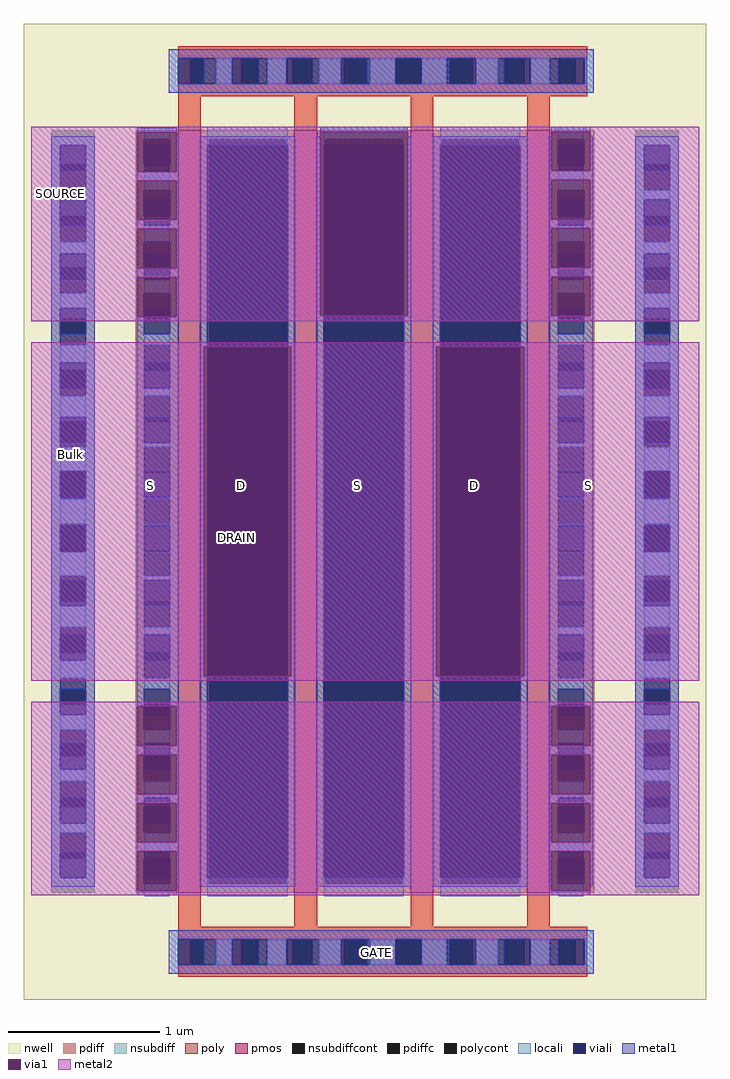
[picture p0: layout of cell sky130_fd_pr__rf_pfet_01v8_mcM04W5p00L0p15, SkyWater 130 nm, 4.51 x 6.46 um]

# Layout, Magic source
magic
tech sky130A
magscale 1 2
<< nwell >>
rect -10 0 893 1292
<< pmos >>
rect 194 141 224 1151
rect 348 141 378 1151
rect 502 141 532 1151
rect 656 141 686 1151
<< pdiff >>
rect 138 1139 194 1151
rect 138 1105 149 1139
rect 183 1105 194 1139
rect 138 1071 194 1105
rect 138 1037 149 1071
rect 183 1037 194 1071
rect 138 1003 194 1037
rect 138 969 149 1003
rect 183 969 194 1003
rect 138 935 194 969
rect 138 901 149 935
rect 183 901 194 935
rect 138 867 194 901
rect 138 833 149 867
rect 183 833 194 867
rect 138 799 194 833
rect 138 765 149 799
rect 183 765 194 799
rect 138 731 194 765
rect 138 697 149 731
rect 183 697 194 731
rect 138 663 194 697
rect 138 629 149 663
rect 183 629 194 663
rect 138 595 194 629
rect 138 561 149 595
rect 183 561 194 595
rect 138 527 194 561
rect 138 493 149 527
rect 183 493 194 527
rect 138 459 194 493
rect 138 425 149 459
rect 183 425 194 459
rect 138 391 194 425
rect 138 357 149 391
rect 183 357 194 391
rect 138 323 194 357
rect 138 289 149 323
rect 183 289 194 323
rect 138 255 194 289
rect 138 221 149 255
rect 183 221 194 255
rect 138 187 194 221
rect 138 153 149 187
rect 183 153 194 187
rect 138 141 194 153
rect 224 1139 348 1151
rect 224 153 235 1139
rect 337 153 348 1139
rect 224 141 348 153
rect 378 1139 502 1151
rect 378 153 389 1139
rect 491 153 502 1139
rect 378 141 502 153
rect 532 1139 656 1151
rect 532 153 543 1139
rect 645 153 656 1139
rect 532 141 656 153
rect 686 1139 745 1151
rect 686 1105 697 1139
rect 731 1105 745 1139
rect 686 1071 745 1105
rect 686 1037 697 1071
rect 731 1037 745 1071
rect 686 1003 745 1037
rect 686 969 697 1003
rect 731 969 745 1003
rect 686 935 745 969
rect 686 901 697 935
rect 731 901 745 935
rect 686 867 745 901
rect 686 833 697 867
rect 731 833 745 867
rect 686 799 745 833
rect 686 765 697 799
rect 731 765 745 799
rect 686 731 745 765
rect 686 697 697 731
rect 731 697 745 731
rect 686 663 745 697
rect 686 629 697 663
rect 731 629 745 663
rect 686 595 745 629
rect 686 561 697 595
rect 731 561 745 595
rect 686 527 745 561
rect 686 493 697 527
rect 731 493 745 527
rect 686 459 745 493
rect 686 425 697 459
rect 731 425 745 459
rect 686 391 745 425
rect 686 357 697 391
rect 731 357 745 391
rect 686 323 745 357
rect 686 289 697 323
rect 731 289 745 323
rect 686 255 745 289
rect 686 221 697 255
rect 731 221 745 255
rect 686 187 745 221
rect 686 153 697 187
rect 731 153 745 187
rect 686 141 745 153
<< pdiffc >>
rect 149 1105 183 1139
rect 149 1037 183 1071
rect 149 969 183 1003
rect 149 901 183 935
rect 149 833 183 867
rect 149 765 183 799
rect 149 697 183 731
rect 149 629 183 663
rect 149 561 183 595
rect 149 493 183 527
rect 149 425 183 459
rect 149 357 183 391
rect 149 289 183 323
rect 149 221 183 255
rect 149 153 183 187
rect 235 153 337 1139
rect 389 153 491 1139
rect 543 153 645 1139
rect 697 1105 731 1139
rect 697 1037 731 1071
rect 697 969 731 1003
rect 697 901 731 935
rect 697 833 731 867
rect 697 765 731 799
rect 697 697 731 731
rect 697 629 731 663
rect 697 561 731 595
rect 697 493 731 527
rect 697 425 731 459
rect 697 357 731 391
rect 697 289 731 323
rect 697 221 731 255
rect 697 153 731 187
<< nsubdiff >>
rect 26 1105 84 1151
rect 26 1071 38 1105
rect 72 1071 84 1105
rect 26 1037 84 1071
rect 26 1003 38 1037
rect 72 1003 84 1037
rect 26 969 84 1003
rect 26 935 38 969
rect 72 935 84 969
rect 26 901 84 935
rect 26 867 38 901
rect 72 867 84 901
rect 26 833 84 867
rect 26 799 38 833
rect 72 799 84 833
rect 26 765 84 799
rect 26 731 38 765
rect 72 731 84 765
rect 26 697 84 731
rect 26 663 38 697
rect 72 663 84 697
rect 26 629 84 663
rect 26 595 38 629
rect 72 595 84 629
rect 26 561 84 595
rect 26 527 38 561
rect 72 527 84 561
rect 26 493 84 527
rect 26 459 38 493
rect 72 459 84 493
rect 26 425 84 459
rect 26 391 38 425
rect 72 391 84 425
rect 26 357 84 391
rect 26 323 38 357
rect 72 323 84 357
rect 26 289 84 323
rect 26 255 38 289
rect 72 255 84 289
rect 26 221 84 255
rect 26 187 38 221
rect 72 187 84 221
rect 26 141 84 187
rect 799 1105 857 1151
rect 799 1071 811 1105
rect 845 1071 857 1105
rect 799 1037 857 1071
rect 799 1003 811 1037
rect 845 1003 857 1037
rect 799 969 857 1003
rect 799 935 811 969
rect 845 935 857 969
rect 799 901 857 935
rect 799 867 811 901
rect 845 867 857 901
rect 799 833 857 867
rect 799 799 811 833
rect 845 799 857 833
rect 799 765 857 799
rect 799 731 811 765
rect 845 731 857 765
rect 799 697 857 731
rect 799 663 811 697
rect 845 663 857 697
rect 799 629 857 663
rect 799 595 811 629
rect 845 595 857 629
rect 799 561 857 595
rect 799 527 811 561
rect 845 527 857 561
rect 799 493 857 527
rect 799 459 811 493
rect 845 459 857 493
rect 799 425 857 459
rect 799 391 811 425
rect 845 391 857 425
rect 799 357 857 391
rect 799 323 811 357
rect 845 323 857 357
rect 799 289 857 323
rect 799 255 811 289
rect 845 255 857 289
rect 799 221 857 255
rect 799 187 811 221
rect 845 187 857 221
rect 799 141 857 187
<< nsubdiffcont >>
rect 38 1071 72 1105
rect 38 1003 72 1037
rect 38 935 72 969
rect 38 867 72 901
rect 38 799 72 833
rect 38 731 72 765
rect 38 663 72 697
rect 38 595 72 629
rect 38 527 72 561
rect 38 459 72 493
rect 38 391 72 425
rect 38 323 72 357
rect 38 255 72 289
rect 38 187 72 221
rect 811 1071 845 1105
rect 811 1003 845 1037
rect 811 935 845 969
rect 811 867 845 901
rect 811 799 845 833
rect 811 731 845 765
rect 811 663 845 697
rect 811 595 845 629
rect 811 527 845 561
rect 811 459 845 493
rect 811 391 845 425
rect 811 323 845 357
rect 811 255 845 289
rect 811 187 845 221
<< poly >>
rect 194 1246 736 1262
rect 194 1212 210 1246
rect 244 1212 278 1246
rect 312 1212 346 1246
rect 380 1212 414 1246
rect 448 1212 482 1246
rect 516 1212 550 1246
rect 584 1212 618 1246
rect 652 1212 686 1246
rect 720 1212 736 1246
rect 194 1196 736 1212
rect 194 1151 224 1196
rect 348 1151 378 1196
rect 502 1151 532 1196
rect 656 1151 686 1196
rect 194 96 224 141
rect 348 96 378 141
rect 502 96 532 141
rect 656 96 686 141
rect 194 80 736 96
rect 194 46 210 80
rect 244 46 278 80
rect 312 46 346 80
rect 380 46 414 80
rect 448 46 482 80
rect 516 46 550 80
rect 584 46 618 80
rect 652 46 686 80
rect 720 46 736 80
rect 194 30 736 46
<< polycont >>
rect 210 1212 244 1246
rect 278 1212 312 1246
rect 346 1212 380 1246
rect 414 1212 448 1246
rect 482 1212 516 1246
rect 550 1212 584 1246
rect 618 1212 652 1246
rect 686 1212 720 1246
rect 210 46 244 80
rect 278 46 312 80
rect 346 46 380 80
rect 414 46 448 80
rect 482 46 516 80
rect 550 46 584 80
rect 618 46 652 80
rect 686 46 720 80
<< locali >>
rect 244 1212 266 1246
rect 312 1212 338 1246
rect 380 1212 410 1246
rect 448 1212 482 1246
rect 516 1212 550 1246
rect 588 1212 618 1246
rect 660 1212 686 1246
rect 732 1212 736 1246
rect 149 1139 183 1155
rect 38 1059 72 1071
rect 38 987 72 1003
rect 38 915 72 935
rect 38 843 72 867
rect 38 771 72 799
rect 38 699 72 731
rect 38 629 72 663
rect 38 561 72 593
rect 38 493 72 521
rect 38 425 72 449
rect 38 357 72 377
rect 38 289 72 305
rect 38 221 72 233
rect 149 1071 183 1097
rect 149 1003 183 1025
rect 149 935 183 953
rect 149 867 183 881
rect 149 799 183 809
rect 149 731 183 737
rect 149 663 183 665
rect 149 627 183 629
rect 149 555 183 561
rect 149 483 183 493
rect 149 411 183 425
rect 149 339 183 357
rect 149 267 183 289
rect 149 195 183 221
rect 149 137 183 153
rect 233 1139 339 1155
rect 233 1131 235 1139
rect 337 1131 339 1139
rect 233 153 235 161
rect 337 153 339 161
rect 233 137 339 153
rect 387 1139 493 1155
rect 387 1131 389 1139
rect 491 1131 493 1139
rect 387 153 389 161
rect 491 153 493 161
rect 387 137 493 153
rect 541 1139 647 1155
rect 541 1131 543 1139
rect 645 1131 647 1139
rect 541 153 543 161
rect 645 153 647 161
rect 541 137 647 153
rect 697 1139 731 1155
rect 697 1071 731 1097
rect 697 1003 731 1025
rect 697 935 731 953
rect 697 867 731 881
rect 697 799 731 809
rect 697 731 731 737
rect 697 663 731 665
rect 697 627 731 629
rect 697 555 731 561
rect 697 483 731 493
rect 697 411 731 425
rect 697 339 731 357
rect 697 267 731 289
rect 697 195 731 221
rect 811 1059 845 1071
rect 811 987 845 1003
rect 811 915 845 935
rect 811 843 845 867
rect 811 771 845 799
rect 811 699 845 731
rect 811 629 845 663
rect 811 561 845 593
rect 811 493 845 521
rect 811 425 845 449
rect 811 357 845 377
rect 811 289 845 305
rect 811 221 845 233
rect 697 137 731 153
rect 244 46 266 80
rect 312 46 338 80
rect 380 46 410 80
rect 448 46 482 80
rect 516 46 550 80
rect 588 46 618 80
rect 660 46 686 80
rect 732 46 736 80
<< viali >>
rect 194 1212 210 1246
rect 210 1212 228 1246
rect 266 1212 278 1246
rect 278 1212 300 1246
rect 338 1212 346 1246
rect 346 1212 372 1246
rect 410 1212 414 1246
rect 414 1212 444 1246
rect 482 1212 516 1246
rect 554 1212 584 1246
rect 584 1212 588 1246
rect 626 1212 652 1246
rect 652 1212 660 1246
rect 698 1212 720 1246
rect 720 1212 732 1246
rect 38 1105 72 1131
rect 38 1097 72 1105
rect 38 1037 72 1059
rect 38 1025 72 1037
rect 38 969 72 987
rect 38 953 72 969
rect 38 901 72 915
rect 38 881 72 901
rect 38 833 72 843
rect 38 809 72 833
rect 38 765 72 771
rect 38 737 72 765
rect 38 697 72 699
rect 38 665 72 697
rect 38 595 72 627
rect 38 593 72 595
rect 38 527 72 555
rect 38 521 72 527
rect 38 459 72 483
rect 38 449 72 459
rect 38 391 72 411
rect 38 377 72 391
rect 38 323 72 339
rect 38 305 72 323
rect 38 255 72 267
rect 38 233 72 255
rect 38 187 72 195
rect 38 161 72 187
rect 149 1105 183 1131
rect 149 1097 183 1105
rect 149 1037 183 1059
rect 149 1025 183 1037
rect 149 969 183 987
rect 149 953 183 969
rect 149 901 183 915
rect 149 881 183 901
rect 149 833 183 843
rect 149 809 183 833
rect 149 765 183 771
rect 149 737 183 765
rect 149 697 183 699
rect 149 665 183 697
rect 149 595 183 627
rect 149 593 183 595
rect 149 527 183 555
rect 149 521 183 527
rect 149 459 183 483
rect 149 449 183 459
rect 149 391 183 411
rect 149 377 183 391
rect 149 323 183 339
rect 149 305 183 323
rect 149 255 183 267
rect 149 233 183 255
rect 149 187 183 195
rect 149 161 183 187
rect 233 161 235 1131
rect 235 161 337 1131
rect 337 161 339 1131
rect 387 161 389 1131
rect 389 161 491 1131
rect 491 161 493 1131
rect 541 161 543 1131
rect 543 161 645 1131
rect 645 161 647 1131
rect 697 1105 731 1131
rect 697 1097 731 1105
rect 697 1037 731 1059
rect 697 1025 731 1037
rect 697 969 731 987
rect 697 953 731 969
rect 697 901 731 915
rect 697 881 731 901
rect 697 833 731 843
rect 697 809 731 833
rect 697 765 731 771
rect 697 737 731 765
rect 697 697 731 699
rect 697 665 731 697
rect 697 595 731 627
rect 697 593 731 595
rect 697 527 731 555
rect 697 521 731 527
rect 697 459 731 483
rect 697 449 731 459
rect 697 391 731 411
rect 697 377 731 391
rect 697 323 731 339
rect 697 305 731 323
rect 697 255 731 267
rect 697 233 731 255
rect 697 187 731 195
rect 697 161 731 187
rect 811 1105 845 1131
rect 811 1097 845 1105
rect 811 1037 845 1059
rect 811 1025 845 1037
rect 811 969 845 987
rect 811 953 845 969
rect 811 901 845 915
rect 811 881 845 901
rect 811 833 845 843
rect 811 809 845 833
rect 811 765 845 771
rect 811 737 845 765
rect 811 697 845 699
rect 811 665 845 697
rect 811 595 845 627
rect 811 593 845 595
rect 811 527 845 555
rect 811 521 845 527
rect 811 459 845 483
rect 811 449 845 459
rect 811 391 845 411
rect 811 377 845 391
rect 811 323 845 339
rect 811 305 845 323
rect 811 255 845 267
rect 811 233 845 255
rect 811 187 845 195
rect 811 161 845 187
rect 194 46 210 80
rect 210 46 228 80
rect 266 46 278 80
rect 278 46 300 80
rect 338 46 346 80
rect 346 46 372 80
rect 410 46 414 80
rect 414 46 444 80
rect 482 46 516 80
rect 554 46 584 80
rect 584 46 588 80
rect 626 46 652 80
rect 652 46 660 80
rect 698 46 720 80
rect 720 46 732 80
<< metal1 >>
rect 182 1246 744 1258
rect 182 1212 194 1246
rect 228 1212 266 1246
rect 300 1212 338 1246
rect 372 1212 410 1246
rect 444 1212 482 1246
rect 516 1212 554 1246
rect 588 1212 626 1246
rect 660 1212 698 1246
rect 732 1212 744 1246
rect 182 1200 744 1212
rect 140 1148 192 1154
rect 26 1131 84 1143
rect 26 1097 38 1131
rect 72 1097 84 1131
rect 26 1059 84 1097
rect 26 1025 38 1059
rect 72 1025 84 1059
rect 26 987 84 1025
rect 26 953 38 987
rect 72 953 84 987
rect 26 915 84 953
rect 26 881 38 915
rect 72 881 84 915
rect 26 843 84 881
rect 26 809 38 843
rect 72 809 84 843
rect 26 771 84 809
rect 26 737 38 771
rect 72 737 84 771
rect 26 699 84 737
rect 26 665 38 699
rect 72 665 84 699
rect 26 627 84 665
rect 26 593 38 627
rect 72 593 84 627
rect 26 555 84 593
rect 26 521 38 555
rect 72 521 84 555
rect 26 483 84 521
rect 26 449 38 483
rect 72 449 84 483
rect 26 411 84 449
rect 26 377 38 411
rect 72 377 84 411
rect 26 339 84 377
rect 26 305 38 339
rect 72 305 84 339
rect 26 267 84 305
rect 26 233 38 267
rect 72 233 84 267
rect 26 195 84 233
rect 26 161 38 195
rect 72 161 84 195
rect 26 149 84 161
rect 382 1149 498 1155
rect 192 1096 195 1143
rect 140 1084 195 1096
rect 192 1032 195 1084
rect 140 1025 149 1032
rect 183 1025 195 1032
rect 140 1020 195 1025
rect 192 968 195 1020
rect 140 956 149 968
rect 183 956 195 968
rect 192 904 195 956
rect 140 881 149 904
rect 183 881 195 904
rect 140 843 195 881
rect 140 809 149 843
rect 183 809 195 843
rect 140 771 195 809
rect 140 737 149 771
rect 183 737 195 771
rect 140 699 195 737
rect 140 665 149 699
rect 183 665 195 699
rect 140 627 195 665
rect 140 593 149 627
rect 183 593 195 627
rect 140 555 195 593
rect 140 521 149 555
rect 183 521 195 555
rect 140 483 195 521
rect 140 449 149 483
rect 183 449 195 483
rect 140 411 195 449
rect 140 388 149 411
rect 183 388 195 411
rect 192 336 195 388
rect 140 324 149 336
rect 183 324 195 336
rect 192 272 195 324
rect 140 267 195 272
rect 140 260 149 267
rect 183 260 195 267
rect 192 208 195 260
rect 140 196 195 208
rect 192 149 195 196
rect 223 1131 349 1143
rect 223 864 233 1131
rect 339 864 349 1131
rect 223 428 228 864
rect 344 428 349 864
rect 223 161 233 428
rect 339 161 349 428
rect 223 149 349 161
rect 377 905 382 1143
rect 688 1149 740 1155
rect 498 905 503 1143
rect 377 161 387 905
rect 493 161 503 905
rect 377 149 503 161
rect 531 1131 657 1143
rect 531 864 541 1131
rect 647 864 657 1131
rect 531 428 536 864
rect 652 428 657 864
rect 531 161 541 428
rect 647 161 657 428
rect 531 149 657 161
rect 685 1097 688 1143
rect 740 1097 743 1143
rect 685 1085 743 1097
rect 685 1033 688 1085
rect 740 1033 743 1085
rect 685 1025 697 1033
rect 731 1025 743 1033
rect 685 1021 743 1025
rect 685 969 688 1021
rect 740 969 743 1021
rect 685 957 697 969
rect 731 957 743 969
rect 685 905 688 957
rect 740 905 743 957
rect 685 881 697 905
rect 731 881 743 905
rect 685 843 743 881
rect 685 809 697 843
rect 731 809 743 843
rect 685 771 743 809
rect 685 737 697 771
rect 731 737 743 771
rect 685 699 743 737
rect 685 665 697 699
rect 731 665 743 699
rect 685 627 743 665
rect 685 593 697 627
rect 731 593 743 627
rect 685 555 743 593
rect 685 521 697 555
rect 731 521 743 555
rect 685 483 743 521
rect 685 449 697 483
rect 731 449 743 483
rect 685 411 743 449
rect 685 388 697 411
rect 731 388 743 411
rect 685 336 688 388
rect 740 336 743 388
rect 685 324 697 336
rect 731 324 743 336
rect 685 272 688 324
rect 740 272 743 324
rect 685 267 743 272
rect 685 260 697 267
rect 731 260 743 267
rect 685 208 688 260
rect 740 208 743 260
rect 685 196 743 208
rect 685 149 688 196
rect 140 138 192 144
rect 740 149 743 196
rect 799 1131 857 1143
rect 799 1097 811 1131
rect 845 1097 857 1131
rect 799 1059 857 1097
rect 799 1025 811 1059
rect 845 1025 857 1059
rect 799 987 857 1025
rect 799 953 811 987
rect 845 953 857 987
rect 799 915 857 953
rect 799 881 811 915
rect 845 881 857 915
rect 799 843 857 881
rect 799 809 811 843
rect 845 809 857 843
rect 799 771 857 809
rect 799 737 811 771
rect 845 737 857 771
rect 799 699 857 737
rect 799 665 811 699
rect 845 665 857 699
rect 799 627 857 665
rect 799 593 811 627
rect 845 593 857 627
rect 799 555 857 593
rect 799 521 811 555
rect 845 521 857 555
rect 799 483 857 521
rect 799 449 811 483
rect 845 449 857 483
rect 799 411 857 449
rect 799 377 811 411
rect 845 377 857 411
rect 799 339 857 377
rect 799 305 811 339
rect 845 305 857 339
rect 799 267 857 305
rect 799 233 811 267
rect 845 233 857 267
rect 799 195 857 233
rect 799 161 811 195
rect 845 161 857 195
rect 799 149 857 161
rect 688 138 740 144
rect 182 80 744 92
rect 182 46 194 80
rect 228 46 266 80
rect 300 46 338 80
rect 372 46 410 80
rect 444 46 482 80
rect 516 46 554 80
rect 588 46 626 80
rect 660 46 698 80
rect 732 46 744 80
rect 182 34 744 46
<< via1 >>
rect 140 1131 192 1148
rect 140 1097 149 1131
rect 149 1097 183 1131
rect 183 1097 192 1131
rect 140 1096 192 1097
rect 140 1059 192 1084
rect 140 1032 149 1059
rect 149 1032 183 1059
rect 183 1032 192 1059
rect 140 987 192 1020
rect 140 968 149 987
rect 149 968 183 987
rect 183 968 192 987
rect 140 953 149 956
rect 149 953 183 956
rect 183 953 192 956
rect 140 915 192 953
rect 140 904 149 915
rect 149 904 183 915
rect 183 904 192 915
rect 140 377 149 388
rect 149 377 183 388
rect 183 377 192 388
rect 140 339 192 377
rect 140 336 149 339
rect 149 336 183 339
rect 183 336 192 339
rect 140 305 149 324
rect 149 305 183 324
rect 183 305 192 324
rect 140 272 192 305
rect 140 233 149 260
rect 149 233 183 260
rect 183 233 192 260
rect 140 208 192 233
rect 140 195 192 196
rect 140 161 149 195
rect 149 161 183 195
rect 183 161 192 195
rect 140 144 192 161
rect 228 428 233 864
rect 233 428 339 864
rect 339 428 344 864
rect 382 1131 498 1149
rect 382 905 387 1131
rect 387 905 493 1131
rect 493 905 498 1131
rect 536 428 541 864
rect 541 428 647 864
rect 647 428 652 864
rect 688 1131 740 1149
rect 688 1097 697 1131
rect 697 1097 731 1131
rect 731 1097 740 1131
rect 688 1059 740 1085
rect 688 1033 697 1059
rect 697 1033 731 1059
rect 731 1033 740 1059
rect 688 987 740 1021
rect 688 969 697 987
rect 697 969 731 987
rect 731 969 740 987
rect 688 953 697 957
rect 697 953 731 957
rect 731 953 740 957
rect 688 915 740 953
rect 688 905 697 915
rect 697 905 731 915
rect 731 905 740 915
rect 688 377 697 388
rect 697 377 731 388
rect 731 377 740 388
rect 688 339 740 377
rect 688 336 697 339
rect 697 336 731 339
rect 731 336 740 339
rect 688 305 697 324
rect 697 305 731 324
rect 731 305 740 324
rect 688 272 740 305
rect 688 233 697 260
rect 697 233 731 260
rect 731 233 740 260
rect 688 208 740 233
rect 688 195 740 196
rect 688 161 697 195
rect 697 161 731 195
rect 731 161 740 195
rect 688 144 740 161
<< metal2 >>
rect 0 1149 884 1155
rect 0 1148 382 1149
rect 0 1096 140 1148
rect 192 1096 382 1148
rect 0 1084 382 1096
rect 0 1032 140 1084
rect 192 1032 382 1084
rect 0 1020 382 1032
rect 0 968 140 1020
rect 192 968 382 1020
rect 0 956 382 968
rect 0 904 140 956
rect 192 905 382 956
rect 498 1097 688 1149
rect 740 1097 884 1149
rect 498 1085 884 1097
rect 498 1033 688 1085
rect 740 1033 884 1085
rect 498 1021 884 1033
rect 498 969 688 1021
rect 740 969 884 1021
rect 498 957 884 969
rect 498 905 688 957
rect 740 905 884 957
rect 192 904 884 905
rect 0 898 884 904
rect 0 864 884 870
rect 0 428 228 864
rect 344 428 536 864
rect 652 428 884 864
rect 0 422 884 428
rect 0 388 884 394
rect 0 336 140 388
rect 192 336 688 388
rect 740 336 884 388
rect 0 324 884 336
rect 0 272 140 324
rect 192 272 688 324
rect 740 272 884 324
rect 0 260 884 272
rect 0 208 140 260
rect 192 208 688 260
rect 740 208 884 260
rect 0 196 884 208
rect 0 144 140 196
rect 192 144 688 196
rect 740 144 884 196
rect 0 138 884 144
<< labels >>
flabel comment s 278 681 278 681 0 FreeSans 300 0 0 0 D
flabel comment s 737 681 737 681 0 FreeSans 300 0 0 0 S
flabel comment s 432 681 432 681 0 FreeSans 300 0 0 0 S
flabel comment s 158 681 158 681 0 FreeSans 300 180 0 0 S
flabel comment s 586 681 586 681 0 FreeSans 300 0 0 0 D
flabel metal1 s 414 50 500 75 0 FreeSans 200 180 0 0 GATE
port 2 nsew
flabel metal2 s 233 599 309 624 0 FreeSans 200 0 0 0 DRAIN
port 1 nsew
flabel metal2 s 0 1055 76 1080 0 FreeSans 200 0 0 0 SOURCE
port 3 nsew
flabel mvpdiff s 52 722 52 722 0 FreeSans 700 270 0 0 Bulk
port 4 nsew
<< properties >>
string GDS_FILE $PDKPATH/libs.ref/sky130_fd_pr/gds/sky130_fd_pr.gds
string GDS_END 10115586
string GDS_START 10086664
<< end >>
